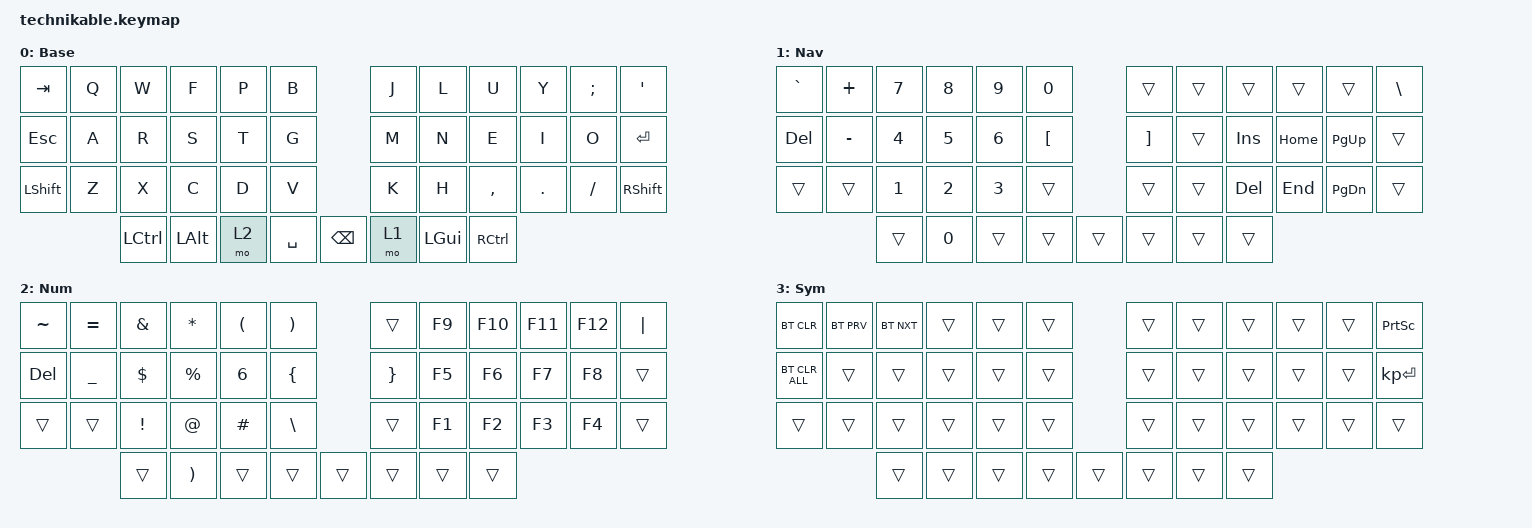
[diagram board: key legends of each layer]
/*
 * Copyright (c) 2022 Pete Johanson
 *
 * SPDX-License-Identifier: MIT
 */

#include <behaviors.dtsi>
#include <dt-bindings/zmk/bt.h>
#include <dt-bindings/zmk/keys.h>

#define BAS_L 0
#define NAV_L 1
#define NUM_L 2
#define SYM_L 3

// Using layer taps on thumbs, having quick tap as well helps w/ repeating space/backspace

&lt { quick_tap_ms = <200>; };

/ {
    chosen { zmk,matrix_transform = &ortho_transform; };

    conditional_layers {
        compatible = "zmk,conditional-layers";

        Layer3 {
            if-layers = <1 2>;
            then-layer = <3>;
        };
    };

    keymap {
        compatible = "zmk,keymap";

        base_layer {
            label = "Base";
            bindings = <
&kp TAB     &kp Q  &kp W      &kp F     &kp P  &kp B                     &kp J  &kp L         &kp U      &kp Y    &kp SEMICOLON  &kp SQT
&kp ESCAPE  &kp A  &kp R      &kp S     &kp T  &kp G                     &kp M  &kp N         &kp E      &kp I    &kp O          &kp ENTER
&kp LSHFT   &kp Z  &kp X      &kp C     &kp D  &kp V                     &kp K  &kp H         &kp COMMA  &kp DOT  &kp FSLH       &kp RSHIFT
                   &kp LCTRL  &kp LALT  &mo 2  &kp SPACE  &kp BACKSPACE  &mo 1  &kp LEFT_GUI  &kp RCTRL
            >;
        };

        numbero {
            label = "Nav";
            bindings = <
&kp GRAVE   &kp PLUS   &kp N7        &kp N8        &kp N9        &kp NUMBER_0              &trans             &trans  &trans      &trans    &trans         &kp BACKSLASH
&kp DELETE  &kp MINUS  &kp NUMBER_4  &kp N5        &kp NUMBER_6  &kp LEFT_BRACKET          &kp RIGHT_BRACKET  &trans  &kp INSERT  &kp HOME  &kp PAGE_UP    &trans
&trans      &trans     &kp NUMBER_1  &kp NUMBER_2  &kp NUMBER_3  &trans                    &trans             &trans  &kp DELETE  &kp END   &kp PAGE_DOWN  &trans
                       &trans        &kp N0        &trans        &trans            &trans  &trans             &trans  &trans
            >;
        };

        symbols {
            label = "Num";
            bindings = <
&kp TILDE   &kp EQUAL  &kp AMPERSAND    &kp ASTERISK           &kp LEFT_PARENTHESIS  &kp RIGHT_PARENTHESIS          &trans           &kp F9  &kp F10  &kp F11  &kp F12  &kp PIPE
&kp DELETE  &kp UNDER  &kp DOLLAR       &kp PERCENT            &kp N6                &kp LEFT_BRACE                 &kp RIGHT_BRACE  &kp F5  &kp F6   &kp F7   &kp F8   &trans
&trans      &trans     &kp EXCLAMATION  &kp AT_SIGN            &kp HASH              &kp BSLH                       &trans           &kp F1  &kp F2   &kp F3   &kp F4   &trans
                       &trans           &kp RIGHT_PARENTHESIS  &trans                &trans                 &trans  &trans           &trans  &trans
            >;
        };

        sym_layer {
            label = "Sym";
            bindings = <
&bt BT_CLR      &bt BT_PRV  &bt BT_NXT  &trans  &trans  &trans          &trans  &trans  &trans  &trans  &trans  &kp PRINTSCREEN
&bt BT_CLR_ALL  &trans      &trans      &trans  &trans  &trans          &trans  &trans  &trans  &trans  &trans  &kp KP_ENTER
&trans          &trans      &trans      &trans  &trans  &trans          &trans  &trans  &trans  &trans  &trans  &trans
                            &trans      &trans  &trans  &trans  &trans  &trans  &trans  &trans
            >;
        };
    };
};
